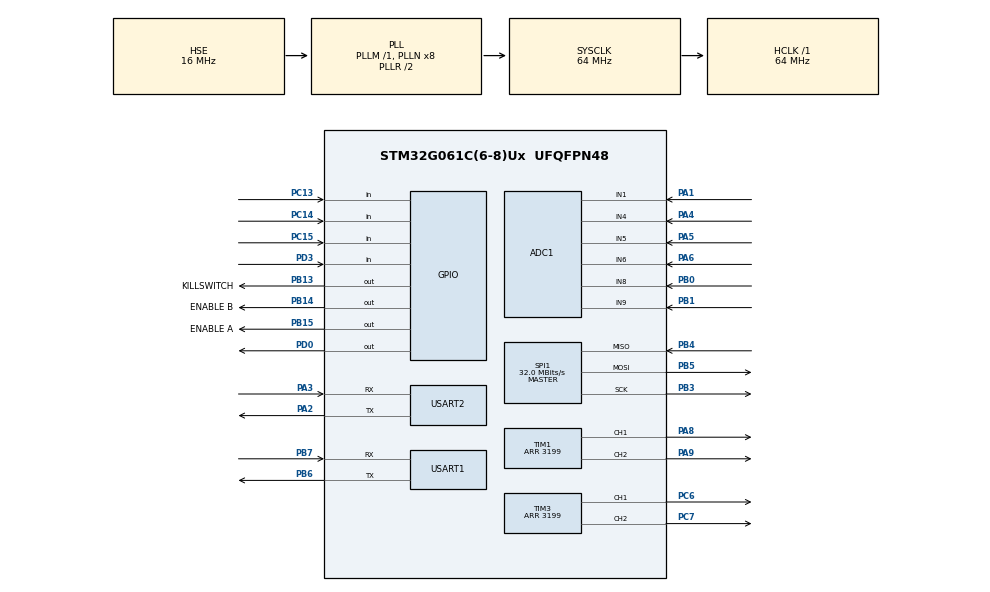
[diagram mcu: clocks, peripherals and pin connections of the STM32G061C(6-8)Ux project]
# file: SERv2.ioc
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ADC1.ContinuousConvMode=ENABLE
ADC1.DMAContinuousRequests=ENABLE
ADC1.NbrOfConversion=1
ADC1.NbrOfConversionFlag=0
ADC1.SamplingTimeCommon1=ADC_SAMPLETIME_39CYCLES_5
ADC1.SelectedChannel=ADC_CHANNEL_1|ADC_CHANNEL_4|ADC_CHANNEL_5|ADC_CHANNEL_6|ADC_CHANNEL_8|ADC_CHANNEL_9
ADC1.Sequencer=NOT_FULLY_CONFIGURABLE
ADC1.master=1
Dma.ADC1.0.Direction=DMA_PERIPH_TO_MEMORY
Dma.ADC1.0.EventEnable=DISABLE
Dma.ADC1.0.Instance=DMA1_Channel1
Dma.ADC1.0.MemDataAlignment=DMA_MDATAALIGN_HALFWORD
Dma.ADC1.0.MemInc=DMA_MINC_ENABLE
Dma.ADC1.0.Mode=DMA_CIRCULAR
Dma.ADC1.0.PeriphDataAlignment=DMA_PDATAALIGN_HALFWORD
Dma.ADC1.0.PeriphInc=DMA_PINC_DISABLE
Dma.ADC1.0.Polarity=HAL_DMAMUX_REQ_GEN_RISING
Dma.ADC1.0.Priority=DMA_PRIORITY_LOW
Dma.ADC1.0.RequestNumber=1
Dma.ADC1.0.SignalID=NONE
Dma.ADC1.0.SyncEnable=DISABLE
Dma.ADC1.0.SyncPolarity=HAL_DMAMUX_SYNC_NO_EVENT
Dma.ADC1.0.SyncRequestNumber=1
Dma.ADC1.0.SyncSignalID=NONE
Dma.Request0=ADC1
Mcu.Family=STM32G0
Mcu.Name=STM32G061C(6-8)Ux
Mcu.Package=UFQFPN48
NVIC.ADC1_COMP_IRQn=true\:0\:0\:false\:false\:true\:true\:true\:true
NVIC.DMA1_Channel1_IRQn=true\:0\:0\:false\:false\:true\:false\:true\:true
NVIC.TIM16_IRQn=true\:0\:0\:false\:false\:true\:true\:true\:true
PA1.Signal=SharedAnalog_PA1
PA13.Mode=Serial_Wire
PA13.Signal=SYS_SWDIO
PA14-BOOT0.Mode=Serial_Wire
PA14-BOOT0.Signal=SYS_SWCLK
PA2.Mode=Asynchronous
PA2.Signal=USART2_TX
PA3.Mode=Asynchronous
PA3.Signal=USART2_RX
PA4.Signal=SharedAnalog_PA4
PA5.Signal=SharedAnalog_PA5
PA6.Signal=SharedAnalog_PA6
PA8.Signal=S_TIM1_CH1
PA9.Signal=S_TIM1_CH2
PB0.Signal=SharedAnalog_PB0
PB1.Signal=SharedAnalog_PB1
PB13.GPIO_Label=KILLSWITCH
PB13.Signal=GPIO_Output
PB14.GPIO_Label=ENABLE B
PB14.Signal=GPIO_Output
PB15.GPIO_Label=ENABLE A
PB15.Signal=GPIO_Output
PB3.Mode=Full_Duplex_Master
PB3.Signal=SPI1_SCK
PB4.Mode=Full_Duplex_Master
PB4.Signal=SPI1_MISO
PB5.Mode=Full_Duplex_Master
PB5.Signal=SPI1_MOSI
PB6.Mode=Asynchronous
PB6.Signal=USART1_TX
PB7.Mode=Asynchronous
PB7.Signal=USART1_RX
PC13.Signal=GPIO_Input
PC14-OSC32_IN\ (PC14).Signal=GPIO_Input
PC15-OSC32_OUT\ (PC15).Signal=GPIO_Input
PC6.Signal=S_TIM3_CH1
PC7.Signal=S_TIM3_CH2
PD0.Signal=GPIO_Output
PD3.Signal=GPIO_Input
PF0-OSC_IN\ (PF0).Mode=HSE-External-Oscillator
PF0-OSC_IN\ (PF0).Signal=RCC_OSC_IN
PF1-OSC_OUT\ (PF1).Mode=HSE-External-Oscillator
PF1-OSC_OUT\ (PF1).Signal=RCC_OSC_OUT
ProjectManager.HeapSize=0x200
ProjectManager.StackSize=0x400
ProjectManager.TargetToolchain=STM32CubeIDE
RCC.ADCFreq_Value=64000000
RCC.AHBFreq_Value=64000000
RCC.CortexFreq_Value=64000000
RCC.EXTERNAL_CLOCK_VALUE=48000
RCC.HCLKFreq_Value=64000000
RCC.HSE_VALUE=16000000
RCC.HSI_VALUE=16000000
RCC.LSE_VALUE=32768
RCC.PLLSourceVirtual=RCC_PLLSOURCE_HSE
RCC.SYSCLKFreq_VALUE=64000000
RCC.SYSCLKSource=RCC_SYSCLKSOURCE_PLLCLK
RCC.VCOOutputFreq_Value=128000000
SH.S_TIM1_CH1.0=TIM1_CH1,PWM Generation1 CH1
SH.S_TIM1_CH2.0=TIM1_CH2,PWM Generation2 CH2
SH.S_TIM3_CH1.0=TIM3_CH1,PWM Generation1 CH1
SH.S_TIM3_CH2.0=TIM3_CH2,PWM Generation2 CH2
SH.SharedAnalog_PA1.0=GPIO_Analog
SH.SharedAnalog_PA1.1=ADC1_IN1,IN1
SH.SharedAnalog_PA4.0=GPIO_Analog
SH.SharedAnalog_PA4.1=ADC1_IN4,IN4
SH.SharedAnalog_PA5.0=GPIO_Analog
SH.SharedAnalog_PA5.1=ADC1_IN5,IN5
SH.SharedAnalog_PA6.0=GPIO_Analog
SH.SharedAnalog_PA6.1=ADC1_IN6,IN6
SH.SharedAnalog_PB0.0=GPIO_Analog
SH.SharedAnalog_PB0.1=ADC1_IN8,IN8
SH.SharedAnalog_PB1.0=GPIO_Analog
SH.SharedAnalog_PB1.1=ADC1_IN9,IN9
SPI1.CalculateBaudRate=32.0 MBits/s
SPI1.Direction=SPI_DIRECTION_2LINES
SPI1.Mode=SPI_MODE_MASTER
SPI1.VirtualType=VM_MASTER
TIM1.Channel-PWM\ Generation1\ CH1=TIM_CHANNEL_1
TIM1.Channel-PWM\ Generation2\ CH2=TIM_CHANNEL_2
TIM1.Period=3199
TIM16.Period=999
TIM16.Prescaler=99
TIM3.Channel-PWM\ Generation1\ CH1=TIM_CHANNEL_1
TIM3.Channel-PWM\ Generation2\ CH2=TIM_CHANNEL_2
TIM3.Period=3199
USART1.VirtualMode-Asynchronous=VM_ASYNC
USART2.VirtualMode-Asynchronous=VM_ASYNC
VP_TIM16_VS_ClockSourceINT.Mode=Enable_Timer
board=custom

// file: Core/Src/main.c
/* USER CODE BEGIN Header */
/**
  ******************************************************************************
  * @file           : main.c
  * @brief          : Main program body
  ******************************************************************************
  * @attention
  *
  * Copyright (c) 2023 STMicroelectronics.
  * All rights reserved.
  *
  * This software is licensed under terms that can be found in the LICENSE file
  * in the root directory of this software component.
  * If no LICENSE file comes with this software, it is provided AS-IS.
  *
  * CODE DATE: 05.02.2023
  *
  * CODE EDITION: 05.02.2023
  *
  * NOT TESTED
  *
  ******************************************************************************
  */
/* USER CODE END Header */
#include "main.h"

/* USER CODE BEGIN PD */
#define LEFT 0
#define RIGHT 1
//Pinout:
//#define LEFT_TIM TIM3
//#define RIGHT_TIM TIM1
#define SENSOR_DISTANCE_LEFT 0
#define SENSOR_DISTANCE_RIGHT 3
#define SENSOR_LINE_LEFT 2
#define SENSOR_LINE_RIGHT 1
//Limits
#define PWM_MAX 3100
//PD settings
#define KP 0.5
#define KD 0
//Others
#define NO_LINE_OF_SIGHT 4000
#define PWM_BASE 3000 //Max 3100
#define DETECT 1600
//int PD=0;
/* USER CODE END PD */

ADC_HandleTypeDef hadc1;
DMA_HandleTypeDef hdma_adc1;

SPI_HandleTypeDef hspi1;

TIM_HandleTypeDef htim1;
TIM_HandleTypeDef htim3;
TIM_HandleTypeDef htim16;

UART_HandleTypeDef huart1;
UART_HandleTypeDef huart2;

/* USER CODE BEGIN PV */
uint16_t ADC_readout[6];

/* USER CODE END PV */

void SystemClock_Config(void);
static void MX_GPIO_Init(void);
static void MX_DMA_Init(void);
static void MX_ADC1_Init(void);
static void MX_SPI1_Init(void);
static void MX_TIM1_Init(void);
static void MX_TIM3_Init(void);
static void MX_USART1_UART_Init(void);
static void MX_USART2_UART_Init(void);
static void MX_TIM16_Init(void);

int main(void)
{

  /* MCU Configuration--------------------------------------------------------*/

  /* Reset of all peripherals, Initializes the Flash interface and the Systick. */
  HAL_Init();

  /* Configure the system clock */
  SystemClock_Config();

  /* Initialize all configured peripherals */
  MX_GPIO_Init();
  MX_DMA_Init();
  MX_ADC1_Init();
  MX_SPI1_Init();
  MX_TIM1_Init();
  MX_TIM3_Init();
  MX_USART1_UART_Init();
  MX_USART2_UART_Init();
  MX_TIM16_Init();
  /* USER CODE BEGIN 2 */
 // HAL_ADC_Start_DMA(&hadc1, ADC_readout, 6);

  //to do battery_type
  HAL_GPIO_WritePin(KILLSWITCH_GPIO_Port, KILLSWITCH_Pin, GPIO_PIN_SET);
  HAL_GPIO_WritePin(ENABLE_A_GPIO_Port, ENABLE_A_Pin, GPIO_PIN_SET);
  HAL_GPIO_WritePin(ENABLE_B_GPIO_Port, ENABLE_B_Pin, GPIO_PIN_SET);

  HAL_TIM_Base_Start_IT(&htim16);

  HAL_TIM_PWM_Start(&htim1, TIM_CHANNEL_1);
  HAL_TIM_PWM_Start(&htim1, TIM_CHANNEL_2);

  HAL_TIM_PWM_Start(&htim3, TIM_CHANNEL_1);
  HAL_TIM_PWM_Start(&htim3, TIM_CHANNEL_2);
  HAL_ADC_Start_DMA(&hadc1, ADC_readout, 6);
  //HAL_Delay(1000);
  //HAL_GPIO_WritePin(KILLSWITCH_GPIO_Port, KILLSWITCH_Pin, GPIO_PIN_RESET);

  /* USER CODE END 2 */

  /* Infinite loop */
  while (1)
  {

  }
}

void SystemClock_Config(void)
{
  RCC_OscInitTypeDef RCC_OscInitStruct = {0};
  RCC_ClkInitTypeDef RCC_ClkInitStruct = {0};

  /** Configure the main internal regulator output voltage
  */
  HAL_PWREx_ControlVoltageScaling(PWR_REGULATOR_VOLTAGE_SCALE1);

  /** Initializes the RCC Oscillators according to the specified parameters
  * in the RCC_OscInitTypeDef structure.
  */
  RCC_OscInitStruct.OscillatorType = RCC_OSCILLATORTYPE_HSE;
  RCC_OscInitStruct.HSEState = RCC_HSE_ON;
  RCC_OscInitStruct.PLL.PLLState = RCC_PLL_ON;
  RCC_OscInitStruct.PLL.PLLSource = RCC_PLLSOURCE_HSE;
  RCC_OscInitStruct.PLL.PLLM = RCC_PLLM_DIV1;
  RCC_OscInitStruct.PLL.PLLN = 8;
  RCC_OscInitStruct.PLL.PLLP = RCC_PLLP_DIV2;
  RCC_OscInitStruct.PLL.PLLQ = RCC_PLLQ_DIV2;
  RCC_OscInitStruct.PLL.PLLR = RCC_PLLR_DIV2;
  if (HAL_RCC_OscConfig(&RCC_OscInitStruct) != HAL_OK)
  {
    Error_Handler();
  }

  /** Initializes the CPU, AHB and APB buses clocks
  */
  RCC_ClkInitStruct.ClockType = RCC_CLOCKTYPE_HCLK|RCC_CLOCKTYPE_SYSCLK
                              |RCC_CLOCKTYPE_PCLK1;
  RCC_ClkInitStruct.SYSCLKSource = RCC_SYSCLKSOURCE_PLLCLK;
  RCC_ClkInitStruct.AHBCLKDivider = RCC_SYSCLK_DIV1;
  RCC_ClkInitStruct.APB1CLKDivider = RCC_HCLK_DIV1;

  if (HAL_RCC_ClockConfig(&RCC_ClkInitStruct, FLASH_LATENCY_2) != HAL_OK)
  {
    Error_Handler();
  }
}

static void MX_ADC1_Init(void)
{

  ADC_ChannelConfTypeDef sConfig = {0};

  /** Configure the global features of the ADC (Clock, Resolution, Data Alignment and number of conversion)
  */
  hadc1.Instance = ADC1;
  hadc1.Init.ClockPrescaler = ADC_CLOCK_SYNC_PCLK_DIV2;
  hadc1.Init.Resolution = ADC_RESOLUTION_12B;
  hadc1.Init.DataAlign = ADC_DATAALIGN_RIGHT;
  hadc1.Init.ScanConvMode = ADC_SCAN_SEQ_FIXED;
  hadc1.Init.EOCSelection = ADC_EOC_SINGLE_CONV;
  hadc1.Init.LowPowerAutoWait = DISABLE;
  hadc1.Init.LowPowerAutoPowerOff = DISABLE;
  hadc1.Init.ContinuousConvMode = ENABLE;
  hadc1.Init.NbrOfConversion = 1;
  hadc1.Init.ExternalTrigConv = ADC_SOFTWARE_START;
  hadc1.Init.ExternalTrigConvEdge = ADC_EXTERNALTRIGCONVEDGE_NONE;
  hadc1.Init.DMAContinuousRequests = ENABLE;
  hadc1.Init.Overrun = ADC_OVR_DATA_PRESERVED;
  hadc1.Init.SamplingTimeCommon1 = ADC_SAMPLETIME_39CYCLES_5;
  hadc1.Init.OversamplingMode = DISABLE;
  hadc1.Init.TriggerFrequencyMode = ADC_TRIGGER_FREQ_HIGH;
  if (HAL_ADC_Init(&hadc1) != HAL_OK)
  {
    Error_Handler();
  }

  /** Configure Regular Channel
  */
  sConfig.Channel = ADC_CHANNEL_1;
  sConfig.Rank = ADC_RANK_CHANNEL_NUMBER;
  if (HAL_ADC_ConfigChannel(&hadc1, &sConfig) != HAL_OK)
  {
    Error_Handler();
  }

  /** Configure Regular Channel
  */
  sConfig.Channel = ADC_CHANNEL_4;
  if (HAL_ADC_ConfigChannel(&hadc1, &sConfig) != HAL_OK)
  {
    Error_Handler();
  }

  /** Configure Regular Channel
  */
  sConfig.Channel = ADC_CHANNEL_5;
  if (HAL_ADC_ConfigChannel(&hadc1, &sConfig) != HAL_OK)
  {
    Error_Handler();
  }

  /** Configure Regular Channel
  */
  sConfig.Channel = ADC_CHANNEL_6;
  if (HAL_ADC_ConfigChannel(&hadc1, &sConfig) != HAL_OK)
  {
    Error_Handler();
  }

  /** Configure Regular Channel
  */
  sConfig.Channel = ADC_CHANNEL_8;
  if (HAL_ADC_ConfigChannel(&hadc1, &sConfig) != HAL_OK)
  {
    Error_Handler();
  }

  /** Configure Regular Channel
  */
  sConfig.Channel = ADC_CHANNEL_9;
  if (HAL_ADC_ConfigChannel(&hadc1, &sConfig) != HAL_OK)
  {
    Error_Handler();
  }

}

static void MX_SPI1_Init(void)
{

  /* SPI1 parameter configuration*/
  hspi1.Instance = SPI1;
  hspi1.Init.Mode = SPI_MODE_MASTER;
  hspi1.Init.Direction = SPI_DIRECTION_2LINES;
  hspi1.Init.DataSize = SPI_DATASIZE_8BIT;
  hspi1.Init.CLKPolarity = SPI_POLARITY_LOW;
  hspi1.Init.CLKPhase = SPI_PHASE_1EDGE;
  hspi1.Init.NSS = SPI_NSS_SOFT;
  hspi1.Init.BaudRatePrescaler = SPI_BAUDRATEPRESCALER_2;
  hspi1.Init.FirstBit = SPI_FIRSTBIT_MSB;
  hspi1.Init.TIMode = SPI_TIMODE_DISABLE;
  hspi1.Init.CRCCalculation = SPI_CRCCALCULATION_DISABLE;
  hspi1.Init.CRCPolynomial = 7;
  hspi1.Init.CRCLength = SPI_CRC_LENGTH_DATASIZE;
  hspi1.Init.NSSPMode = SPI_NSS_PULSE_ENABLE;
  if (HAL_SPI_Init(&hspi1) != HAL_OK)
  {
    Error_Handler();
  }

}

static void MX_TIM1_Init(void)
{

  TIM_MasterConfigTypeDef sMasterConfig = {0};
  TIM_OC_InitTypeDef sConfigOC = {0};
  TIM_BreakDeadTimeConfigTypeDef sBreakDeadTimeConfig = {0};

  htim1.Instance = TIM1;
  htim1.Init.Prescaler = 0;
  htim1.Init.CounterMode = TIM_COUNTERMODE_UP;
  htim1.Init.Period = 3199;
  htim1.Init.ClockDivision = TIM_CLOCKDIVISION_DIV1;
  htim1.Init.RepetitionCounter = 0;
  htim1.Init.AutoReloadPreload = TIM_AUTORELOAD_PRELOAD_DISABLE;
  if (HAL_TIM_PWM_Init(&htim1) != HAL_OK)
  {
    Error_Handler();
  }
  sMasterConfig.MasterOutputTrigger = TIM_TRGO_RESET;
  sMasterConfig.MasterOutputTrigger2 = TIM_TRGO2_RESET;
  sMasterConfig.MasterSlaveMode = TIM_MASTERSLAVEMODE_DISABLE;
  if (HAL_TIMEx_MasterConfigSynchronization(&htim1, &sMasterConfig) != HAL_OK)
  {
    Error_Handler();
  }
  sConfigOC.OCMode = TIM_OCMODE_PWM1;
  sConfigOC.Pulse = 0;
  sConfigOC.OCPolarity = TIM_OCPOLARITY_HIGH;
  sConfigOC.OCNPolarity = TIM_OCNPOLARITY_HIGH;
  sConfigOC.OCFastMode = TIM_OCFAST_DISABLE;
  sConfigOC.OCIdleState = TIM_OCIDLESTATE_RESET;
  sConfigOC.OCNIdleState = TIM_OCNIDLESTATE_RESET;
  if (HAL_TIM_PWM_ConfigChannel(&htim1, &sConfigOC, TIM_CHANNEL_1) != HAL_OK)
  {
    Error_Handler();
  }
  if (HAL_TIM_PWM_ConfigChannel(&htim1, &sConfigOC, TIM_CHANNEL_2) != HAL_OK)
  {
    Error_Handler();
  }
  sBreakDeadTimeConfig.OffStateRunMode = TIM_OSSR_DISABLE;
  sBreakDeadTimeConfig.OffStateIDLEMode = TIM_OSSI_DISABLE;
  sBreakDeadTimeConfig.LockLevel = TIM_LOCKLEVEL_OFF;
  sBreakDeadTimeConfig.DeadTime = 0;
  sBreakDeadTimeConfig.BreakState = TIM_BREAK_DISABLE;
  sBreakDeadTimeConfig.BreakPolarity = TIM_BREAKPOLARITY_HIGH;
  sBreakDeadTimeConfig.BreakFilter = 0;
  sBreakDeadTimeConfig.BreakAFMode = TIM_BREAK_AFMODE_INPUT;
  sBreakDeadTimeConfig.Break2State = TIM_BREAK2_DISABLE;
  sBreakDeadTimeConfig.Break2Polarity = TIM_BREAK2POLARITY_HIGH;
  sBreakDeadTimeConfig.Break2Filter = 0;
  sBreakDeadTimeConfig.Break2AFMode = TIM_BREAK_AFMODE_INPUT;
  sBreakDeadTimeConfig.AutomaticOutput = TIM_AUTOMATICOUTPUT_DISABLE;
  if (HAL_TIMEx_ConfigBreakDeadTime(&htim1, &sBreakDeadTimeConfig) != HAL_OK)
  {
    Error_Handler();
  }
  HAL_TIM_MspPostInit(&htim1);

}

static void MX_TIM3_Init(void)
{

  TIM_MasterConfigTypeDef sMasterConfig = {0};
  TIM_OC_InitTypeDef sConfigOC = {0};

  htim3.Instance = TIM3;
  htim3.Init.Prescaler = 0;
  htim3.Init.CounterMode = TIM_COUNTERMODE_UP;
  htim3.Init.Period = 3199;
  htim3.Init.ClockDivision = TIM_CLOCKDIVISION_DIV1;
  htim3.Init.AutoReloadPreload = TIM_AUTORELOAD_PRELOAD_DISABLE;
  if (HAL_TIM_PWM_Init(&htim3) != HAL_OK)
  {
    Error_Handler();
  }
  sMasterConfig.MasterOutputTrigger = TIM_TRGO_RESET;
  sMasterConfig.MasterSlaveMode = TIM_MASTERSLAVEMODE_DISABLE;
  if (HAL_TIMEx_MasterConfigSynchronization(&htim3, &sMasterConfig) != HAL_OK)
  {
    Error_Handler();
  }
  sConfigOC.OCMode = TIM_OCMODE_PWM1;
  sConfigOC.Pulse = 0;
  sConfigOC.OCPolarity = TIM_OCPOLARITY_HIGH;
  sConfigOC.OCFastMode = TIM_OCFAST_DISABLE;
  if (HAL_TIM_PWM_ConfigChannel(&htim3, &sConfigOC, TIM_CHANNEL_1) != HAL_OK)
  {
    Error_Handler();
  }
  if (HAL_TIM_PWM_ConfigChannel(&htim3, &sConfigOC, TIM_CHANNEL_2) != HAL_OK)
  {
    Error_Handler();
  }
  HAL_TIM_MspPostInit(&htim3);

}

static void MX_TIM16_Init(void)
{

  htim16.Instance = TIM16;
  htim16.Init.Prescaler = 99;
  htim16.Init.CounterMode = TIM_COUNTERMODE_UP;
  htim16.Init.Period = 999;
  htim16.Init.ClockDivision = TIM_CLOCKDIVISION_DIV1;
  htim16.Init.RepetitionCounter = 0;
  htim16.Init.AutoReloadPreload = TIM_AUTORELOAD_PRELOAD_DISABLE;
  if (HAL_TIM_Base_Init(&htim16) != HAL_OK)
  {
    Error_Handler();
  }

}

static void MX_USART1_UART_Init(void)
{

  huart1.Instance = USART1;
  huart1.Init.BaudRate = 115200;
  huart1.Init.WordLength = UART_WORDLENGTH_8B;
  huart1.Init.StopBits = UART_STOPBITS_1;
  huart1.Init.Parity = UART_PARITY_NONE;
  huart1.Init.Mode = UART_MODE_TX_RX;
  huart1.Init.HwFlowCtl = UART_HWCONTROL_NONE;
  huart1.Init.OverSampling = UART_OVERSAMPLING_16;
  huart1.Init.OneBitSampling = UART_ONE_BIT_SAMPLE_DISABLE;
  huart1.Init.ClockPrescaler = UART_PRESCALER_DIV1;
  huart1.AdvancedInit.AdvFeatureInit = UART_ADVFEATURE_NO_INIT;
  if (HAL_UART_Init(&huart1) != HAL_OK)
  {
    Error_Handler();
  }
  if (HAL_UARTEx_SetTxFifoThreshold(&huart1, UART_TXFIFO_THRESHOLD_1_8) != HAL_OK)
  {
    Error_Handler();
  }
  if (HAL_UARTEx_SetRxFifoThreshold(&huart1, UART_RXFIFO_THRESHOLD_1_8) != HAL_OK)
  {
    Error_Handler();
  }
  if (HAL_UARTEx_DisableFifoMode(&huart1) != HAL_OK)
  {
    Error_Handler();
  }

}

static void MX_USART2_UART_Init(void)
{

  huart2.Instance = USART2;
  huart2.Init.BaudRate = 115200;
  huart2.Init.WordLength = UART_WORDLENGTH_8B;
  huart2.Init.StopBits = UART_STOPBITS_1;
  huart2.Init.Parity = UART_PARITY_NONE;
  huart2.Init.Mode = UART_MODE_TX_RX;
  huart2.Init.HwFlowCtl = UART_HWCONTROL_NONE;
  huart2.Init.OverSampling = UART_OVERSAMPLING_16;
  huart2.Init.OneBitSampling = UART_ONE_BIT_SAMPLE_DISABLE;
  huart2.Init.ClockPrescaler = UART_PRESCALER_DIV1;
  huart2.AdvancedInit.AdvFeatureInit = UART_ADVFEATURE_NO_INIT;
  if (HAL_UART_Init(&huart2) != HAL_OK)
  {
    Error_Handler();
  }

}

static void MX_DMA_Init(void)
{

  /* DMA controller clock enable */
  __HAL_RCC_DMA1_CLK_ENABLE();

  /* DMA interrupt init */
  /* DMA1_Channel1_IRQn interrupt configuration */
  HAL_NVIC_SetPriority(DMA1_Channel1_IRQn, 0, 0);
  HAL_NVIC_EnableIRQ(DMA1_Channel1_IRQn);

}

static void MX_GPIO_Init(void)
{
  GPIO_InitTypeDef GPIO_InitStruct = {0};

  /* GPIO Ports Clock Enable */
  __HAL_RCC_GPIOC_CLK_ENABLE();
  __HAL_RCC_GPIOF_CLK_ENABLE();
  __HAL_RCC_GPIOA_CLK_ENABLE();
  __HAL_RCC_GPIOB_CLK_ENABLE();
  __HAL_RCC_GPIOD_CLK_ENABLE();

  /*Configure GPIO pin Output Level */
  HAL_GPIO_WritePin(GPIOB, KILLSWITCH_Pin|ENABLE_B_Pin|ENABLE_A_Pin, GPIO_PIN_RESET);

  /*Configure GPIO pin Output Level */
  HAL_GPIO_WritePin(GPIOD, GPIO_PIN_0, GPIO_PIN_RESET);

  /*Configure GPIO pins : PC13 PC14 PC15 */
  GPIO_InitStruct.Pin = GPIO_PIN_13|GPIO_PIN_14|GPIO_PIN_15;
  GPIO_InitStruct.Mode = GPIO_MODE_INPUT;
  GPIO_InitStruct.Pull = GPIO_NOPULL;
  HAL_GPIO_Init(GPIOC, &GPIO_InitStruct);

  /*Configure GPIO pins : KILLSWITCH_Pin ENABLE_B_Pin ENABLE_A_Pin */
  GPIO_InitStruct.Pin = KILLSWITCH_Pin|ENABLE_B_Pin|ENABLE_A_Pin;
  GPIO_InitStruct.Mode = GPIO_MODE_OUTPUT_PP;
  GPIO_InitStruct.Pull = GPIO_NOPULL;
  GPIO_InitStruct.Speed = GPIO_SPEED_FREQ_LOW;
  HAL_GPIO_Init(GPIOB, &GPIO_InitStruct);

  /*Configure GPIO pin : PD0 */
  GPIO_InitStruct.Pin = GPIO_PIN_0;
  GPIO_InitStruct.Mode = GPIO_MODE_OUTPUT_PP;
  GPIO_InitStruct.Pull = GPIO_NOPULL;
  GPIO_InitStruct.Speed = GPIO_SPEED_FREQ_LOW;
  HAL_GPIO_Init(GPIOD, &GPIO_InitStruct);

  /*Configure GPIO pin : PD3 */
  GPIO_InitStruct.Pin = GPIO_PIN_3;
  GPIO_InitStruct.Mode = GPIO_MODE_INPUT;
  GPIO_InitStruct.Pull = GPIO_NOPULL;
  HAL_GPIO_Init(GPIOD, &GPIO_InitStruct);

}

/* USER CODE BEGIN 4 */

void setEngine(int PWM, int EngineId)
{
	if(PWM>=PWM_MAX)
		PWM=PWM_MAX-1;
	if(PWM<=-PWM_MAX)
		PWM=-PWM_MAX+1;
	switch(EngineId)
	{
	case LEFT:
		if(PWM>0)
		{
			TIM3->CCR1 = 5;
			TIM3->CCR2 = PWM;
		}
		else
		{
			TIM3->CCR1 = -PWM;
			TIM3->CCR2 = 5;
		}
		break;
	case RIGHT:
		if(PWM>0)
		{
			TIM1->CCR1 = PWM;
			TIM1->CCR2 = 5;
		}
		else
		{
			TIM1->CCR1 = 5;
			TIM1->CCR2 = -PWM;
		}
		break;
	}
}

void HAL_TIM_PeriodElapsedCallback(TIM_HandleTypeDef *htim16)
{
	static int error=0, prev_error=0;
	static short direction = 0;
	static int PD = 0;
	prev_error = error;
	if(ADC_readout[SENSOR_DISTANCE_LEFT] < DETECT && ADC_readout[SENSOR_DISTANCE_RIGHT] < DETECT)
	{
		if(direction == 1)
		{
			error = NO_LINE_OF_SIGHT;
		}
		else
			error = -NO_LINE_OF_SIGHT;
	}
	else
	error = ADC_readout[SENSOR_DISTANCE_LEFT] - ADC_readout[SENSOR_DISTANCE_RIGHT];
	if(error < 0)
	{
		direction = 0;
	}
	else
	{
		direction = 1;
	}

	PD=KP*error+KD*(error-prev_error);
	setEngine(PWM_BASE+PD, RIGHT);
	setEngine(PWM_BASE-PD, LEFT);
}

/* USER CODE END 4 */

void Error_Handler(void)
{
  __disable_irq();
  while (1)
  {
  }
}
